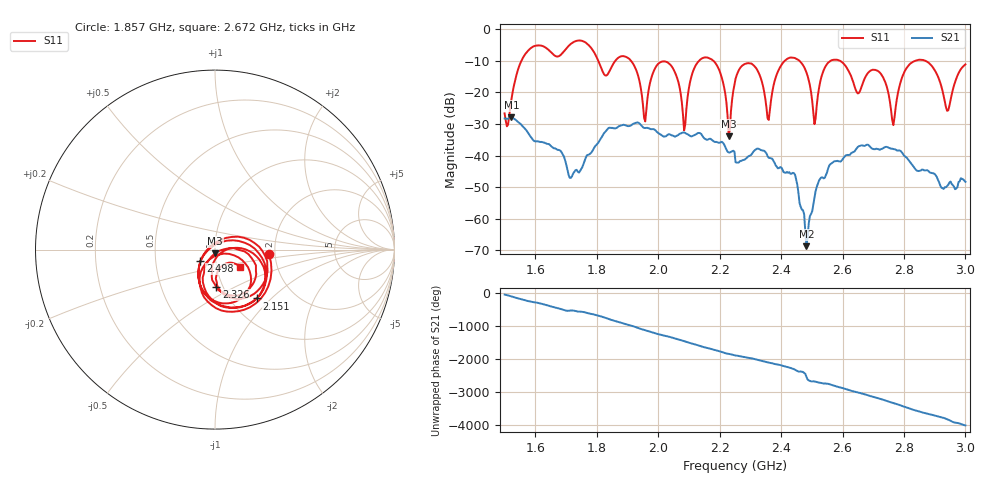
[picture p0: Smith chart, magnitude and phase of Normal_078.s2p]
# HZ S RI R 50
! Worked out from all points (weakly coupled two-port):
!   404 points, 1.5 GHz to 3 GHz, reference 50 ohm
!   highest |S21| = -27.82 dB at 1.522 GHz (marker M1); lowest = -68.7 dB at 2.483 GHz (marker M2)
!   lowest |S11| = -33.9 dB at 2.23 GHz (marker M3), VSWR 1.04, Z = 50.1 - j2.02 ohm
!   |S11| at or under -10 dB: 1.912 GHz to 2.133 GHz (220.8 MHz wide, 10.9 % of centre); 2.18 GHz to 2.412 GHz (231.5 MHz wide, 10.1 % of centre); 2.592 GHz to 2.836 GHz (243.6 MHz wide, 8.98 % of centre) (the widest 3 of 7)
!   S12 and S22 are empty: the file has one direction only
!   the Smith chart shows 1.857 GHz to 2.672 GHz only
!   S11 on the Smith chart (normalised r, x): 1.857 GHz: 1.86, -0.11; 2.151 GHz: 1.32, -0.82; 2.326 GHz: 0.93, -0.40; 2.498 GHz: 0.84, -0.11; 2.672 GHz: 1.29, -0.26
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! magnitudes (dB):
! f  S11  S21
! 1.5 GHz  -26.6  -28.2
! 1.522 GHz  -22.1  -27.8
! 1.586 GHz  -5.9  -34.1
! 1.753 GHz  -3.7  -43.6
! 1.857 GHz  -10.4  -31.4
! 1.958 GHz  -29.2  -31.3
! 2.002 GHz  -10.7  -33.0
! 2.084 GHz  -32.0  -32.7
! 2.151 GHz  -8.9  -34.6
! 2.23 GHz  -33.9  -39.0
! 2.252 GHz  -15.6  -42.1
! 2.326 GHz  -13.6  -37.8
! 2.36 GHz  -28.7  -40.7
! 2.412 GHz  -10.0  -45.4
! 2.483 GHz  -13.7  -68.7
! 2.498 GHz  -19.8  -58.5
! 2.501 GHz  -22.6  -57.7
! 2.672 GHz  -15.5  -36.9
! 2.751 GHz  -20.8  -37.5
! 2.859 GHz  -9.6  -44.4
! 2.944 GHz  -25.7  -49.2
! 3 GHz  -11.1  -48.3
